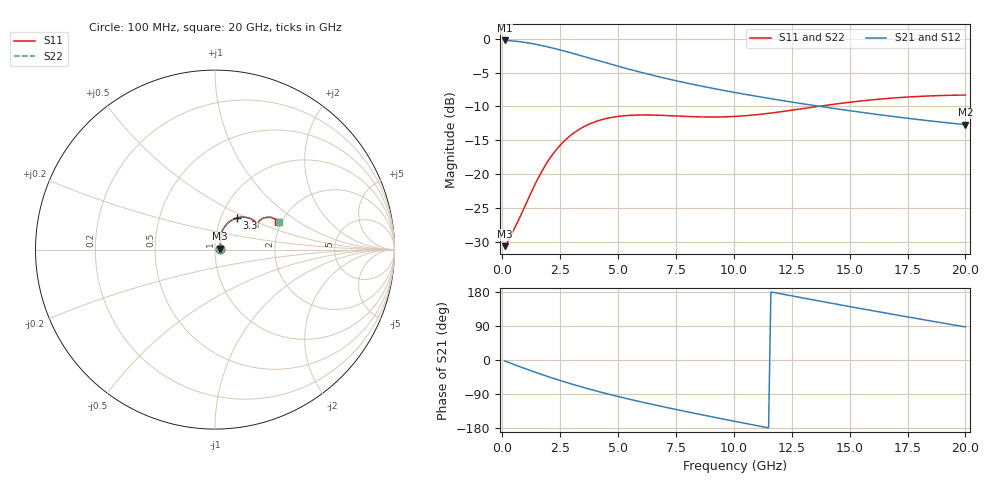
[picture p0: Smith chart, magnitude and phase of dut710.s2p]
! Touchstone file exported from HFSS 2024.1.0
!  File:  C:/UserFiles/LocalFiles/RDL_TSV_Batchsim/temp_RDL_TSV_710_1779887927.aedt
!  Generated:  09:36:25 PM May 27, 2026
!  Design:  RDL_TSV
!  Project:  temp_RDL_TSV_710_1779887927
!  Setup:  Setup1
!  Solution:  Sweep
! Variables:
!  dtsv = 10.4um
!  hbump = 3um
!  htsv = 97.91um
!  ldown = 675.56um
!  lrdl = 424.39um
!  p = 40
!  p1 = 46.63um
!  rhole = 10um
!  subl = 3724.24um
!  t = 450um
!  tdown = 3.85um
!  trdl = 2.73um
!  viad = 10um
!  wdown = 12.7um
!  wrdl = 15.08um
!  xbump = 18um
# GHz S MA R 50.000000
! Terminal data exported
! Port[1] = TM1_1_T1
! Port[2] = TM1_4_T1
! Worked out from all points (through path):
!   200 points, 100 MHz to 20 GHz, reference 50 ohm
!   highest |S21| = -0.26 dB at 100 MHz (marker M1); lowest = -12.7 dB at 20 GHz (marker M2)
!   group delay of S21, straight-line fit = 35.8 ps
!   lowest |S11| = -30.6 dB at 100 MHz (marker M3), VSWR 1.06, Z = 53 + j0.559 ohm
!   |S11| at or under -10 dB: start of sweep to 13.62 GHz
!   |S22| runs from -30.6 to -8.2 dB; largest |S21 - S12| = 9.3e-15
!   S11 on the Smith chart (normalised r, x): 100 MHz: 1.06, +0.01; 3.3 GHz: 1.19, +0.44; 20 GHz: 1.93, +0.69
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0.1  0.02948 10.3  0.9706 -2.4  0.9706 -2.4  0.02948 10.3
! Gamma 0 0 0 0
! Port Impedance 50 0 50 0
0.4  0.03608 33.8  0.9642 -9.5  0.9642 -9.5  0.03607 33.8
0.8  0.04985 53.2  0.9482 -18.6  0.9482 -18.6  0.04984 53.3
1.3  0.07674 66.0  0.9193 -29.7  0.9193 -29.7  0.07679 66.2
1.7  0.1046 68.7  0.8909 -38.2  0.8909 -38.2  0.1047 68.8
2.1  0.1345 67.4  0.8593 -46.3  0.8593 -46.3  0.1347 67.6
2.5  0.1638 64.1  0.826 -54.2  0.826 -54.2  0.1641 64.3
3.3  0.2134 55.4  0.7578 -68.9  0.7578 -68.9  0.2139 55.5
3.5  0.2233 53.2  0.7411 -72.4  0.7411 -72.4  0.2239 53.3
4.3  0.2529 44.8  0.6771 -85.6  0.6771 -85.6  0.2536 44.9
5.1  0.2684 38.0  0.6198 -97.8  0.6198 -97.8  0.2692 38.1
5.9  0.2738 32.9  0.5699 -109.3  0.5699 -109.3  0.2745 33.0
6.8  0.2725 29.2  0.5219 -121.4  0.5219 -121.4  0.2733 29.3
7.6  0.2688 27.6  0.4856 -131.8  0.4856 -131.8  0.2696 27.7
8.4  0.2654 27.3  0.4541 -141.9  0.4541 -141.9  0.2662 27.5
10.1  0.2674 29.7  0.3995 -162.6  0.3995 -162.6  0.2683 29.9
11.6  0.2829 32.2  0.3609 179.7  0.3609 179.7  0.284 32.4
13.4  0.3123 33.1  0.3227 158.9  0.3227 158.9  0.3138 33.3
15  0.3397 31.8  0.2944 141.0  0.2944 141.0  0.3415 32.1
16.7  0.3632 29.2  0.2691 122.3  0.2691 122.3  0.3653 29.4
18.3  0.3774 26.3  0.2494 105.2  0.2494 105.2  0.3799 26.5
20  0.3841 23.4  0.2323 87.2  0.2323 87.2  0.3868 23.6
